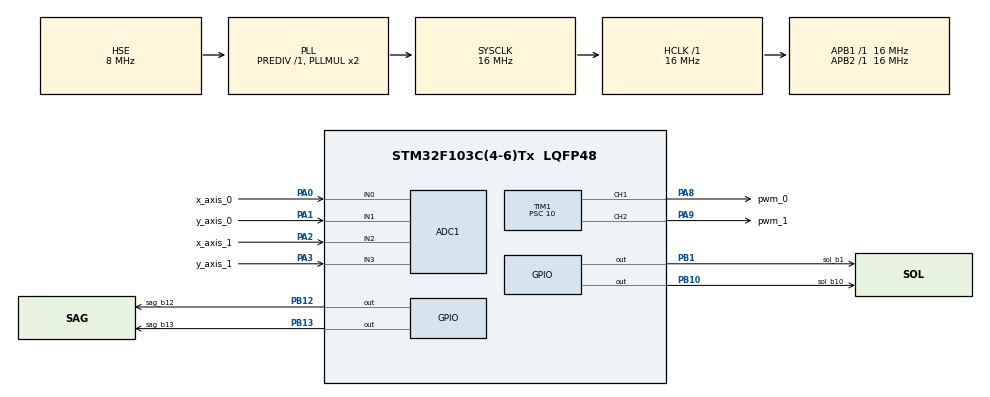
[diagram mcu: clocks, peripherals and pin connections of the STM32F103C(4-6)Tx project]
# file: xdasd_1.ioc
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ADC1.Channel-0\#ChannelRegularConversion=ADC_CHANNEL_0
ADC1.Channel-1\#ChannelRegularConversion=ADC_CHANNEL_1
ADC1.Channel-2\#ChannelRegularConversion=ADC_CHANNEL_2
ADC1.Channel-3\#ChannelRegularConversion=ADC_CHANNEL_3
ADC1.ContinuousConvMode=ENABLE
ADC1.NbrOfConversion=4
ADC1.NbrOfConversionFlag=1
ADC1.Rank-0\#ChannelRegularConversion=1
ADC1.Rank-1\#ChannelRegularConversion=2
ADC1.Rank-2\#ChannelRegularConversion=3
ADC1.Rank-3\#ChannelRegularConversion=4
ADC1.SamplingTime-0\#ChannelRegularConversion=ADC_SAMPLETIME_55CYCLES_5
ADC1.SamplingTime-1\#ChannelRegularConversion=ADC_SAMPLETIME_55CYCLES_5
ADC1.SamplingTime-2\#ChannelRegularConversion=ADC_SAMPLETIME_55CYCLES_5
ADC1.SamplingTime-3\#ChannelRegularConversion=ADC_SAMPLETIME_55CYCLES_5
ADC1.master=1
Dma.ADC1.0.Direction=DMA_PERIPH_TO_MEMORY
Dma.ADC1.0.Instance=DMA1_Channel1
Dma.ADC1.0.MemDataAlignment=DMA_MDATAALIGN_HALFWORD
Dma.ADC1.0.MemInc=DMA_MINC_ENABLE
Dma.ADC1.0.Mode=DMA_CIRCULAR
Dma.ADC1.0.PeriphDataAlignment=DMA_PDATAALIGN_HALFWORD
Dma.ADC1.0.PeriphInc=DMA_PINC_DISABLE
Dma.ADC1.0.Priority=DMA_PRIORITY_LOW
Dma.Request0=ADC1
Mcu.Family=STM32F1
Mcu.Name=STM32F103C(4-6)Tx
Mcu.Package=LQFP48
NVIC.DMA1_Channel1_IRQn=true\:0\:0\:false\:false\:true\:false\:true\:true
NVIC.PriorityGroup=NVIC_PRIORITYGROUP_4
PA0-WKUP.GPIO_Label=x_axis_0
PA0-WKUP.Signal=ADCx_IN0
PA1.GPIO_Label=y_axis_0
PA1.Signal=ADCx_IN1
PA13.Mode=Serial_Wire
PA13.Signal=SYS_JTMS-SWDIO
PA14.Mode=Serial_Wire
PA14.Signal=SYS_JTCK-SWCLK
PA2.GPIO_Label=x_axis_1
PA2.Signal=ADCx_IN2
PA3.GPIO_Label=y_axis_1
PA3.Signal=ADCx_IN3
PA8.GPIO_Label=pwm_0
PA8.Signal=S_TIM1_CH1
PA9.GPIO_Label=pwm_1
PA9.Signal=S_TIM1_CH2
PB1.GPIO_Label=sol_b1
PB1.Signal=GPIO_Output
PB10.GPIO_Label=sol_b10
PB10.Signal=GPIO_Output
PB12.GPIO_Label=sag_b12
PB12.Signal=GPIO_Output
PB13.GPIO_Label=sag_b13
PB13.Signal=GPIO_Output
PC14-OSC32_IN.Mode=LSE-External-Oscillator
PC14-OSC32_IN.Signal=RCC_OSC32_IN
PC15-OSC32_OUT.Mode=LSE-External-Oscillator
PC15-OSC32_OUT.Signal=RCC_OSC32_OUT
PD0-OSC_IN.Mode=HSE-External-Oscillator
PD0-OSC_IN.Signal=RCC_OSC_IN
PD1-OSC_OUT.Mode=HSE-External-Oscillator
PD1-OSC_OUT.Signal=RCC_OSC_OUT
ProjectManager.HeapSize=0x200
ProjectManager.StackSize=0x400
ProjectManager.TargetToolchain=STM32CubeIDE
RCC.AHBFreq_Value=16000000
RCC.APB1Freq_Value=16000000
RCC.APB1TimFreq_Value=16000000
RCC.APB2Freq_Value=16000000
RCC.APB2TimFreq_Value=16000000
RCC.HCLKFreq_Value=16000000
RCC.PLLSourceVirtual=RCC_PLLSOURCE_HSE
RCC.SYSCLKFreq_VALUE=16000000
RCC.SYSCLKSource=RCC_SYSCLKSOURCE_PLLCLK
RCC.USBFreq_Value=16000000
SH.ADCx_IN0.0=ADC1_IN0,IN0
SH.ADCx_IN1.0=ADC1_IN1,IN1
SH.ADCx_IN2.0=ADC1_IN2,IN2
SH.ADCx_IN3.0=ADC1_IN3,IN3
SH.S_TIM1_CH1.0=TIM1_CH1,PWM Generation1 CH1
SH.S_TIM1_CH2.0=TIM1_CH2,PWM Generation2 CH2
TIM1.Channel-PWM\ Generation1\ CH1=TIM_CHANNEL_1
TIM1.Channel-PWM\ Generation2\ CH2=TIM_CHANNEL_2
TIM1.ClockDivision=TIM_CLOCKDIVISION_DIV2
TIM1.Period=3999
TIM1.Prescaler=10
TIM1.Pulse-PWM\ Generation1\ CH1=15000
VP_TIM1_VS_ClockSourceINT.Mode=Internal
board=custom

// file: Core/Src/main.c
/* USER CODE BEGIN Header */
/**
  ******************************************************************************
  * @file           : main.c
  * @brief          : Main program body
  ******************************************************************************
  * @attention
  *
  * Copyright (c) 2023 STMicroelectronics.
  * All rights reserved.
  *
  * This software is licensed under terms that can be found in the LICENSE file
  * in the root directory of this software component.
  * If no LICENSE file comes with this software, it is provided AS-IS.
  *
  ******************************************************************************
  */
/* USER CODE END Header */
#include "main.h"

ADC_HandleTypeDef hadc1;
DMA_HandleTypeDef hdma_adc1;

TIM_HandleTypeDef htim1;

/* USER CODE BEGIN PV */
static uint16_t adcvalue[4];
static uint16_t deger_0;
static uint16_t deger_1;
static uint16_t deger_2;
static uint16_t deger_3;
static uint16_t deger_0_geri;
static uint16_t deger_1_sol;

/* USER CODE END PV */

void SystemClock_Config(void);
static void MX_GPIO_Init(void);
static void MX_DMA_Init(void);
static void MX_ADC1_Init(void);
static void MX_TIM1_Init(void);

int main(void)
{

  /* MCU Configuration--------------------------------------------------------*/

  /* Reset of all peripherals, Initializes the Flash interface and the Systick. */
  HAL_Init();

  /* Configure the system clock */
  SystemClock_Config();

  /* Initialize all configured peripherals */
  MX_GPIO_Init();
  MX_DMA_Init();
  MX_ADC1_Init();
  MX_TIM1_Init();
  /* USER CODE BEGIN 2 */
  HAL_ADC_Start(&hadc1);
  HAL_ADC_Start_DMA(&hadc1,adcvalue , sizeof(adcvalue));
  HAL_TIM_Base_Init(&htim1);
  HAL_TIM_PWM_Start(&htim1,TIM_CHANNEL_1);
  HAL_TIM_PWM_Start(&htim1,TIM_CHANNEL_2);

  /* USER CODE END 2 */

  /* Infinite loop */
  /* USER CODE BEGIN WHILE */
  while (1)
  {

	  adcvalue[0] = HAL_ADC_GetValue(&hadc1);
	  adcvalue[1]= HAL_ADC_GetValue(&hadc1);
	  adcvalue[2]= HAL_ADC_GetValue(&hadc1);
	  adcvalue[3]= HAL_ADC_GetValue(&hadc1);
	  deger_0=adcvalue[0];
	  deger_1=adcvalue[1];
	  deger_2=adcvalue[2]; //deger 0 ve deger3 kullanılcak deger0 sol deger3 sol
	  deger_3=adcvalue[3];

	  //__HAL_TIM_SetCompare(&htim1,TIM_CHANNEL_1,deger_1);
	  //__HAL_TIM_SetCompare(&htim1,TIM_CHANNEL_2,deger_3);

	  if(deger_0>3000 && deger_0<3300 && deger_3>3100 &&deger_3<3400){ //hareketsiz durumda

		  HAL_GPIO_WritePin(GPIOB,sol_b1_Pin,DISABLE);
		  HAL_GPIO_WritePin(GPIOB,sol_b10_Pin,DISABLE);
		  HAL_GPIO_WritePin(GPIOB,sag_b12_Pin,DISABLE);
		  HAL_GPIO_WritePin(GPIOB,sag_b13_Pin,DISABLE);
		  __HAL_TIM_SetCompare(&htim1,TIM_CHANNEL_1,0);
		  HAL_Delay(50);
		  __HAL_TIM_SetCompare(&htim1,TIM_CHANNEL_2,0);
		  HAL_Delay(50);

	  }else if(deger_0>=3300 && deger_3>3100 && deger_3<3400){ //ileri durum

		  HAL_GPIO_WritePin(GPIOB,sol_b1_Pin,ENABLE);
		  HAL_GPIO_WritePin(GPIOB,sol_b10_Pin,DISABLE);
		  HAL_GPIO_WritePin(GPIOB,sag_b12_Pin,ENABLE);
		  HAL_GPIO_WritePin(GPIOB,sag_b13_Pin,DISABLE);
		  __HAL_TIM_SetCompare(&htim1,TIM_CHANNEL_1,deger_0);
		  __HAL_TIM_SetCompare(&htim1,TIM_CHANNEL_2,deger_0);

	  }else if(deger_0<3000 && deger_3>3100 && deger_3<3400){

		  deger_0_geri = 3130 - (uint16_t)deger_0;
		  if(deger_0_geri>0){
			  HAL_GPIO_WritePin(GPIOB,sol_b1_Pin,DISABLE);
			  HAL_GPIO_WritePin(GPIOB,sol_b10_Pin,ENABLE);
			  HAL_GPIO_WritePin(GPIOB,sag_b12_Pin,DISABLE);
			  HAL_GPIO_WritePin(GPIOB,sag_b13_Pin,ENABLE);
			  __HAL_TIM_SetCompare(&htim1,TIM_CHANNEL_1,deger_0_geri);
			  __HAL_TIM_SetCompare(&htim1,TIM_CHANNEL_1,deger_0_geri);

		  }else if(deger_0>3300 && deger_3>3400){

			  HAL_GPIO_WritePin(GPIOB, sol_b1_Pin, ENABLE);
			  HAL_GPIO_WritePin(GPIOB, sol_b10_Pin, DISABLE);
			  HAL_GPIO_WritePin(GPIOB, sag_b12_Pin, DISABLE);
			  HAL_GPIO_WritePin(GPIOB, sag_b13_Pin, ENABLE);
			  __HAL_TIM_SetCompare(&htim1,TIM_CHANNEL_1,deger_0);
			  __HAL_TIM_SetCompare(&htim1,TIM_CHANNEL_2,deger_3);

		  }else if(deger_0>3300 && deger_3<3100){

			  deger_1_sol = 3130 -(uint16_t)deger_3;
			  if(deger_1_sol>0){

				  HAL_GPIO_WritePin(GPIOB, sol_b1_Pin, DISABLE);
				  HAL_GPIO_WritePin(GPIOB, sol_b10_Pin, ENABLE);
				  HAL_GPIO_WritePin(GPIOB, sag_b12_Pin, ENABLE);
				  HAL_GPIO_WritePin(GPIOB, sag_b13_Pin, DISABLE);
				  __HAL_TIM_SetCompare(&htim1,TIM_CHANNEL_1,deger_0);
				  __HAL_TIM_SetCompare(&htim1,TIM_CHANNEL_2,deger_1_sol);
			  }

		  }

	  }

    /* USER CODE END WHILE */

  }
}

void SystemClock_Config(void)
{
  RCC_OscInitTypeDef RCC_OscInitStruct = {0};
  RCC_ClkInitTypeDef RCC_ClkInitStruct = {0};
  RCC_PeriphCLKInitTypeDef PeriphClkInit = {0};

  /** Initializes the RCC Oscillators according to the specified parameters
  * in the RCC_OscInitTypeDef structure.
  */
  RCC_OscInitStruct.OscillatorType = RCC_OSCILLATORTYPE_HSE;
  RCC_OscInitStruct.HSEState = RCC_HSE_ON;
  RCC_OscInitStruct.HSEPredivValue = RCC_HSE_PREDIV_DIV1;
  RCC_OscInitStruct.HSIState = RCC_HSI_ON;
  RCC_OscInitStruct.PLL.PLLState = RCC_PLL_ON;
  RCC_OscInitStruct.PLL.PLLSource = RCC_PLLSOURCE_HSE;
  RCC_OscInitStruct.PLL.PLLMUL = RCC_PLL_MUL2;
  if (HAL_RCC_OscConfig(&RCC_OscInitStruct) != HAL_OK)
  {
    Error_Handler();
  }

  /** Initializes the CPU, AHB and APB buses clocks
  */
  RCC_ClkInitStruct.ClockType = RCC_CLOCKTYPE_HCLK|RCC_CLOCKTYPE_SYSCLK
                              |RCC_CLOCKTYPE_PCLK1|RCC_CLOCKTYPE_PCLK2;
  RCC_ClkInitStruct.SYSCLKSource = RCC_SYSCLKSOURCE_PLLCLK;
  RCC_ClkInitStruct.AHBCLKDivider = RCC_SYSCLK_DIV1;
  RCC_ClkInitStruct.APB1CLKDivider = RCC_HCLK_DIV1;
  RCC_ClkInitStruct.APB2CLKDivider = RCC_HCLK_DIV1;

  if (HAL_RCC_ClockConfig(&RCC_ClkInitStruct, FLASH_LATENCY_0) != HAL_OK)
  {
    Error_Handler();
  }
  PeriphClkInit.PeriphClockSelection = RCC_PERIPHCLK_ADC;
  PeriphClkInit.AdcClockSelection = RCC_ADCPCLK2_DIV2;
  if (HAL_RCCEx_PeriphCLKConfig(&PeriphClkInit) != HAL_OK)
  {
    Error_Handler();
  }
}

static void MX_ADC1_Init(void)
{

  ADC_ChannelConfTypeDef sConfig = {0};

  /** Common config
  */
  hadc1.Instance = ADC1;
  hadc1.Init.ScanConvMode = ADC_SCAN_ENABLE;
  hadc1.Init.ContinuousConvMode = ENABLE;
  hadc1.Init.DiscontinuousConvMode = DISABLE;
  hadc1.Init.ExternalTrigConv = ADC_SOFTWARE_START;
  hadc1.Init.DataAlign = ADC_DATAALIGN_RIGHT;
  hadc1.Init.NbrOfConversion = 4;
  if (HAL_ADC_Init(&hadc1) != HAL_OK)
  {
    Error_Handler();
  }

  /** Configure Regular Channel
  */
  sConfig.Channel = ADC_CHANNEL_0;
  sConfig.Rank = ADC_REGULAR_RANK_1;
  sConfig.SamplingTime = ADC_SAMPLETIME_55CYCLES_5;
  if (HAL_ADC_ConfigChannel(&hadc1, &sConfig) != HAL_OK)
  {
    Error_Handler();
  }

  /** Configure Regular Channel
  */
  sConfig.Channel = ADC_CHANNEL_1;
  sConfig.Rank = ADC_REGULAR_RANK_2;
  if (HAL_ADC_ConfigChannel(&hadc1, &sConfig) != HAL_OK)
  {
    Error_Handler();
  }

  /** Configure Regular Channel
  */
  sConfig.Channel = ADC_CHANNEL_2;
  sConfig.Rank = ADC_REGULAR_RANK_3;
  if (HAL_ADC_ConfigChannel(&hadc1, &sConfig) != HAL_OK)
  {
    Error_Handler();
  }

  /** Configure Regular Channel
  */
  sConfig.Channel = ADC_CHANNEL_3;
  sConfig.Rank = ADC_REGULAR_RANK_4;
  if (HAL_ADC_ConfigChannel(&hadc1, &sConfig) != HAL_OK)
  {
    Error_Handler();
  }

}

static void MX_TIM1_Init(void)
{

  TIM_ClockConfigTypeDef sClockSourceConfig = {0};
  TIM_MasterConfigTypeDef sMasterConfig = {0};
  TIM_OC_InitTypeDef sConfigOC = {0};
  TIM_BreakDeadTimeConfigTypeDef sBreakDeadTimeConfig = {0};

  htim1.Instance = TIM1;
  htim1.Init.Prescaler = 10;
  htim1.Init.CounterMode = TIM_COUNTERMODE_UP;
  htim1.Init.Period = 3999;
  htim1.Init.ClockDivision = TIM_CLOCKDIVISION_DIV2;
  htim1.Init.RepetitionCounter = 0;
  htim1.Init.AutoReloadPreload = TIM_AUTORELOAD_PRELOAD_DISABLE;
  if (HAL_TIM_Base_Init(&htim1) != HAL_OK)
  {
    Error_Handler();
  }
  sClockSourceConfig.ClockSource = TIM_CLOCKSOURCE_INTERNAL;
  if (HAL_TIM_ConfigClockSource(&htim1, &sClockSourceConfig) != HAL_OK)
  {
    Error_Handler();
  }
  if (HAL_TIM_PWM_Init(&htim1) != HAL_OK)
  {
    Error_Handler();
  }
  sMasterConfig.MasterOutputTrigger = TIM_TRGO_RESET;
  sMasterConfig.MasterSlaveMode = TIM_MASTERSLAVEMODE_DISABLE;
  if (HAL_TIMEx_MasterConfigSynchronization(&htim1, &sMasterConfig) != HAL_OK)
  {
    Error_Handler();
  }
  sConfigOC.OCMode = TIM_OCMODE_PWM1;
  sConfigOC.Pulse = 15000;
  sConfigOC.OCPolarity = TIM_OCPOLARITY_HIGH;
  sConfigOC.OCNPolarity = TIM_OCNPOLARITY_HIGH;
  sConfigOC.OCFastMode = TIM_OCFAST_DISABLE;
  sConfigOC.OCIdleState = TIM_OCIDLESTATE_RESET;
  sConfigOC.OCNIdleState = TIM_OCNIDLESTATE_RESET;
  if (HAL_TIM_PWM_ConfigChannel(&htim1, &sConfigOC, TIM_CHANNEL_1) != HAL_OK)
  {
    Error_Handler();
  }
  sConfigOC.Pulse = 0;
  if (HAL_TIM_PWM_ConfigChannel(&htim1, &sConfigOC, TIM_CHANNEL_2) != HAL_OK)
  {
    Error_Handler();
  }
  sBreakDeadTimeConfig.OffStateRunMode = TIM_OSSR_DISABLE;
  sBreakDeadTimeConfig.OffStateIDLEMode = TIM_OSSI_DISABLE;
  sBreakDeadTimeConfig.LockLevel = TIM_LOCKLEVEL_OFF;
  sBreakDeadTimeConfig.DeadTime = 0;
  sBreakDeadTimeConfig.BreakState = TIM_BREAK_DISABLE;
  sBreakDeadTimeConfig.BreakPolarity = TIM_BREAKPOLARITY_HIGH;
  sBreakDeadTimeConfig.AutomaticOutput = TIM_AUTOMATICOUTPUT_DISABLE;
  if (HAL_TIMEx_ConfigBreakDeadTime(&htim1, &sBreakDeadTimeConfig) != HAL_OK)
  {
    Error_Handler();
  }
  HAL_TIM_MspPostInit(&htim1);

}

static void MX_DMA_Init(void)
{

  /* DMA controller clock enable */
  __HAL_RCC_DMA1_CLK_ENABLE();

  /* DMA interrupt init */
  /* DMA1_Channel1_IRQn interrupt configuration */
  HAL_NVIC_SetPriority(DMA1_Channel1_IRQn, 0, 0);
  HAL_NVIC_EnableIRQ(DMA1_Channel1_IRQn);

}

static void MX_GPIO_Init(void)
{
  GPIO_InitTypeDef GPIO_InitStruct = {0};

  /* GPIO Ports Clock Enable */
  __HAL_RCC_GPIOC_CLK_ENABLE();
  __HAL_RCC_GPIOD_CLK_ENABLE();
  __HAL_RCC_GPIOA_CLK_ENABLE();
  __HAL_RCC_GPIOB_CLK_ENABLE();

  /*Configure GPIO pin Output Level */
  HAL_GPIO_WritePin(GPIOB, sol_b1_Pin|sol_b10_Pin|sag_b12_Pin|sag_b13_Pin, GPIO_PIN_RESET);

  /*Configure GPIO pins : sol_b1_Pin sol_b10_Pin sag_b12_Pin sag_b13_Pin */
  GPIO_InitStruct.Pin = sol_b1_Pin|sol_b10_Pin|sag_b12_Pin|sag_b13_Pin;
  GPIO_InitStruct.Mode = GPIO_MODE_OUTPUT_PP;
  GPIO_InitStruct.Pull = GPIO_NOPULL;
  GPIO_InitStruct.Speed = GPIO_SPEED_FREQ_LOW;
  HAL_GPIO_Init(GPIOB, &GPIO_InitStruct);

}

void Error_Handler(void)
{
  __disable_irq();
  while (1)
  {
  }
}
